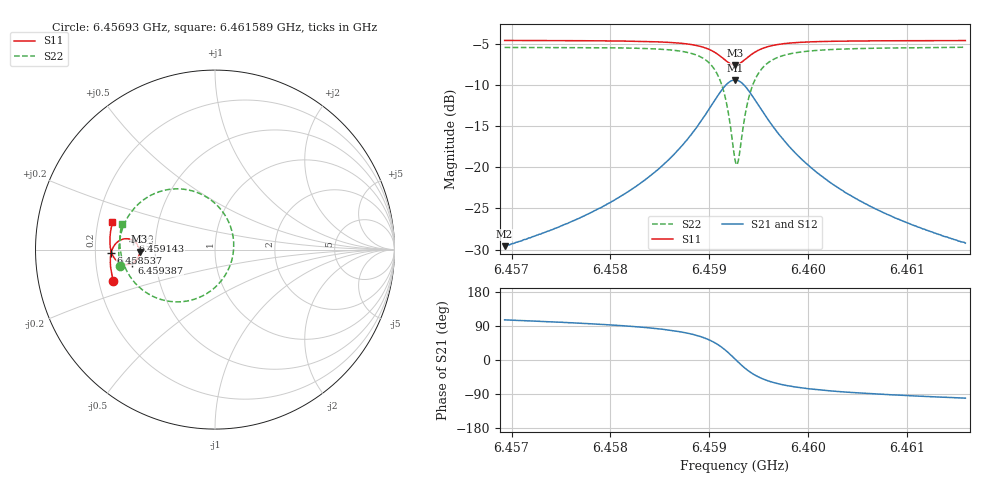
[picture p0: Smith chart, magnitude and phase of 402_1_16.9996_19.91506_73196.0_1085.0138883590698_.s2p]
#  HZ  S  RI  R  50.00
! Rohde & Schwarz Vector Network Analyzer
! Rohde-Schwarz,ZNB20-2Port,1311601062101988,3.16
! Created: UTC 3/20/2024, 11:10:05 PM
! freq[Hz]  re:S11  im:S11  re:S21  im:S21  re:S12  im:S12  re:S22  im:S22
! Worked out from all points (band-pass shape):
!   401 points, 6.45693 GHz to 6.461589 GHz, reference 50 ohm
!   highest |S21| = -9.36 dB at 6.459259 GHz (marker M1); lowest = -29.6 dB at 6.45693 GHz (marker M2)
!   |S21| within 3 dB of the highest: 6.459026 GHz to 6.459492 GHz (465.8 kHz wide, 0.00721 % of centre)
!   lowest |S11| = -7.5 dB at 6.459259 GHz (marker M3), VSWR 2.45, Z = 20.4 - j0.558 ohm
!   |S11| at or under -10 dB: nowhere
!   |S22| runs from -19.7 to -5.4 dB; largest |S21 - S12| = 0.013
!   S11 on the Smith chart (normalised r, x): 6.45693 GHz: 0.26, -0.14; 6.458537 GHz: 0.27, -0.01; 6.459143 GHz: 0.37, +0.05; 6.459387 GHz: 0.37, -0.07; 6.461589 GHz: 0.26, +0.12
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6.4569297e9  -0.5655 -0.1758  -0.00907 0.0319  -0.0074 0.0319  -0.5296 -0.0888
6.4577101e9  -0.5802 -0.108  -0.00581 0.0496  -0.00341 0.049  -0.5358 0.00136
6.4581411e9  -0.5833 -0.065  -0.000133 0.0689  0.00302 0.0675  -0.5285 0.0685
6.4584905e9  -0.5799 -0.0236  0.0133 0.0973  0.0174 0.0947  -0.504 0.1461
6.4585371e9  -0.5785 -0.0173  0.0167 0.1026  0.0208 0.0998  -0.4978 0.1591
6.4587468e9  -0.5665 0.0145  0.0423 0.1341  0.0465 0.1294  -0.4498 0.2302
6.4588982e9  -0.5456 0.0408  0.0844 0.1642  0.0877 0.1578  -0.3727 0.2943
6.4590496e9  -0.5 0.0605  0.1751 0.1833  0.176 0.1759  -0.207 0.3386
6.4591428e9  -0.456 0.0507  0.2639 0.1529  0.2641 0.147  -0.0427 0.29
6.4591894e9  -0.435 0.0322  0.3071 0.1108  0.3081 0.1056  0.0393 0.2153
6.4592593e9  -0.4203 -0.0113  0.3402 0.0154  0.3437 0.00864  0.1042 0.0388
6.4592825e9  -0.422 -0.027  0.3384 -0.0194  0.342 -0.0276  0.1005 -0.0271
6.4592942e9  -0.4241 -0.0346  0.3349 -0.0365  0.3385 -0.0453  0.0936 -0.0593
6.4593408e9  -0.4395 -0.0603  0.3068 -0.0956  0.309 -0.1072  0.0373 -0.171
6.4593874e9  -0.4612 -0.0764  0.2656 -0.1363  0.2647 -0.1491  -0.0459 -0.245
6.4594806e9  -0.5041 -0.0829  0.182 -0.1672  0.1761 -0.1786  -0.2118 -0.2914
6.459632e9  -0.5473 -0.0625  0.0953 -0.154  0.0872 -0.1601  -0.3771 -0.2433
6.459795e9  -0.5688 -0.0349  0.0511 -0.1267  0.0437 -0.1295  -0.4568 -0.1725
6.4600396e9  -0.5812 0.000664  0.0223 -0.0956  0.0165 -0.0963  -0.5043 -0.0912
6.4603891e9  -0.5856 0.0419  0.0063 -0.0693  0.00238 -0.069  -0.5257 -0.0129
6.46082e9  -0.5836 0.0849  -0.00146 -0.0511  -0.00416 -0.0503  -0.53 0.0551
6.4615888e9  -0.5712 0.1528  -0.00641 -0.034  -0.0081 -0.0332  -0.5187 0.1447
